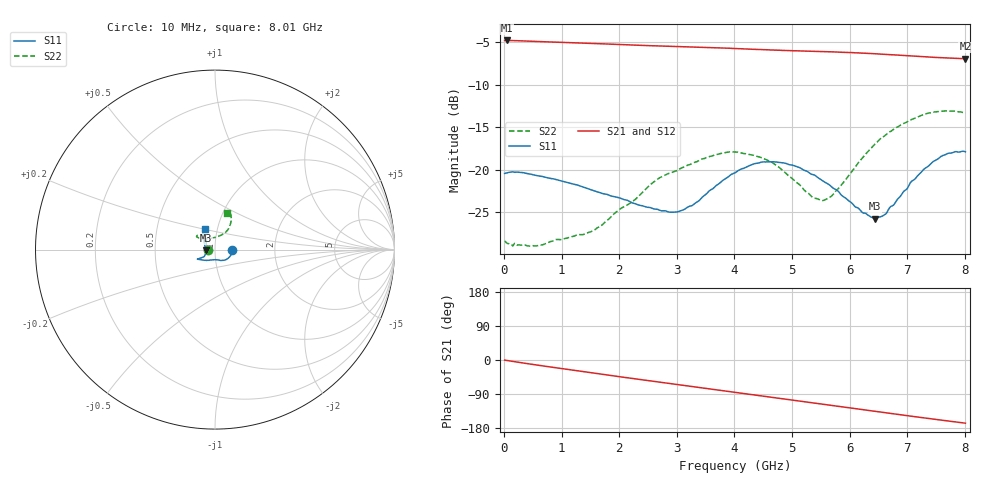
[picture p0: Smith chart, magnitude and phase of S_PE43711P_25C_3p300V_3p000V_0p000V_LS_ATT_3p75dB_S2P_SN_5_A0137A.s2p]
! Device ID: PE43711P
! File Path: z:\PE43711P\CHAR_NOM_04282014\AMB\3p300\LS_ATT_3p75dB\PE43711P_AMB_3p300V_3p000V_0p000V_LS_ATT_3p75dB_S2P_SN_5_A0137A.s2p
! Serial: 5
! Lot: A0137A
! Temp: 25C
! VDD: 3.300
! VSS: 0.000
! Control_Hi: 3.000
! Control_Lo: 0.000
! Attenuation Step: 3.75dB
! Port 1: RF1
! Port 2: RF2
! ThroughPath:1-2
! IDD: 0.0001278522
! ISS: -1.445e-007
#  Hz  S  RI  R  50
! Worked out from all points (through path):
!   801 points, 10 MHz to 8.01 GHz, reference 50 ohm
!   highest |S21| = -4.81 dB at 50 MHz (marker M1); lowest = -7.0 dB at 8.01 GHz (marker M2)
!   group delay of S21, straight-line fit = 57.5 ps
!   lowest |S11| = -25.7 dB at 6.44 GHz (marker M3), VSWR 1.11, Z = 45.1 - j0.339 ohm
!   |S11| at or under -10 dB: start of sweep to end of sweep
!   |S22| runs from -29.0 to -13.1 dB; largest |S21 - S12| = 0.0012
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1e7  0.0951 -0.000396  0.5748 -0.00281  0.5751 -0.00288  -0.038 0.000217
5e7  0.0958 -0.0023  0.5748 -0.0124  0.5748 -0.0124  -0.037 0.000725
5.6e8  0.0858 -0.0343  0.5527 -0.1283  0.5528 -0.1282  -0.035 -0.00657
1.35e9  0.054 -0.0585  0.4799 -0.2788  0.4802 -0.279  -0.0414 0.00207
1.69e9  0.041 -0.0602  0.4367 -0.3337  0.4371 -0.3339  -0.0438 0.017
2.68e9  0.0123 -0.0569  0.2831 -0.4526  0.2834 -0.4529  -0.0559 0.0691
3.11e9  -0.0111 -0.0569  0.2075 -0.4858  0.2077 -0.4863  -0.0679 0.0778
3.55e9  -0.0438 -0.0602  0.1273 -0.5064  0.1274 -0.5066  -0.0858 0.0827
4.01e9  -0.0773 -0.0568  0.041 -0.514  0.0407 -0.5144  -0.1021 0.0755
4.34e9  -0.0938 -0.0541  -0.0194 -0.5097  -0.0195 -0.5101  -0.0995 0.0693
4.68e9  -0.098 -0.0529  -0.0797 -0.4984  -0.0798 -0.4986  -0.0877 0.0645
5.04e9  -0.0924 -0.0511  -0.1402 -0.4802  -0.1405 -0.4801  -0.0606 0.0618
5.35e9  -0.0816 -0.0463  -0.191 -0.4585  -0.1912 -0.459  -0.0299 0.0623
5.53e9  -0.0738 -0.0445  -0.2194 -0.4433  -0.2193 -0.4435  -0.00991 0.0651
5.68e9  -0.0675 -0.0425  -0.2425 -0.4293  -0.2427 -0.4292  0.00751 0.0694
6.22e9  -0.0525 -0.0198  -0.3166 -0.3667  -0.3172 -0.3669  0.0616 0.0996
6.44e9  -0.0514 -0.00375  -0.3419 -0.3369  -0.3423 -0.3372  0.0769 0.1186
6.68e9  -0.0557 0.0189  -0.3658 -0.3033  -0.3658 -0.3036  0.0855 0.1422
7.08e9  -0.0644 0.0566  -0.3974 -0.2435  -0.3975 -0.2437  0.0903 0.1756
7.45e9  -0.0673 0.0892  -0.4178 -0.1873  -0.4181 -0.1874  0.0835 0.201
7.7e9  -0.0671 0.1047  -0.428 -0.1497  -0.428 -0.1493  0.0749 0.209
8.01e9  -0.0581 0.1135  -0.4371 -0.1031  -0.4376 -0.102  0.0683 0.2041
